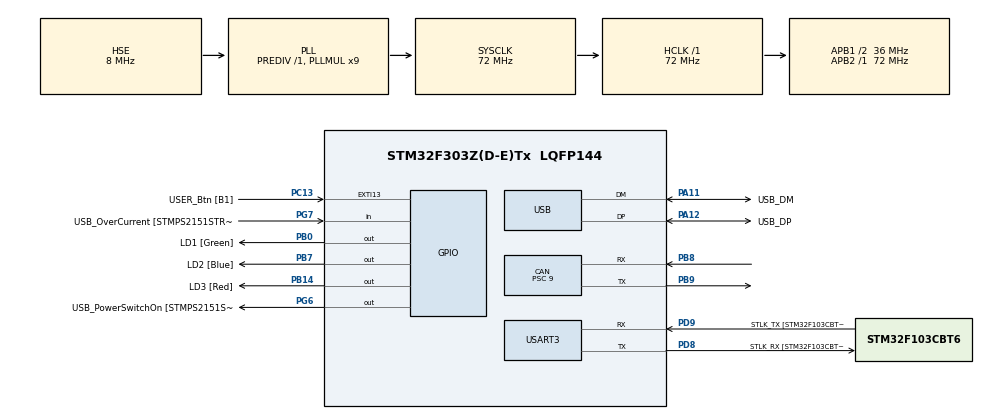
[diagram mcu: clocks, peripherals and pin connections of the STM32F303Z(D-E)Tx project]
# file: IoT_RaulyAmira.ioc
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CAN.BS1=CAN_BS1_9TQ
CAN.BS2=CAN_BS2_6TQ
CAN.CalculateBaudRate=250000
CAN.CalculateTimeBit=4000
CAN.CalculateTimeQuantum=250.0
CAN.Mode=CAN_MODE_LOOPBACK
CAN.Prescaler=9
Mcu.Family=STM32F3
Mcu.Name=STM32F303Z(D-E)Tx
Mcu.Package=LQFP144
NVIC.PriorityGroup=NVIC_PRIORITYGROUP_4
PA11.GPIO_Label=USB_DM
PA11.Mode=Device
PA11.Signal=USB_DM
PA12.GPIO_Label=USB_DP
PA12.Mode=Device
PA12.Signal=USB_DP
PA13.GPIO_Label=TMS
PA13.Mode=Serial_Wire
PA13.Signal=SYS_JTMS-SWDIO
PA14.GPIO_Label=TCK
PA14.Mode=Serial_Wire
PA14.Signal=SYS_JTCK-SWCLK
PB0.GPIO_Label=LD1 [Green]
PB0.Signal=GPIO_Output
PB14.GPIO_Label=LD3 [Red]
PB14.Signal=GPIO_Output
PB3.GPIO_Label=SWO
PB3.Signal=SYS_JTDO-TRACESWO
PB7.GPIO_Label=LD2 [Blue]
PB7.Signal=GPIO_Output
PB8.Mode=CAN_Activate
PB8.Signal=CAN_RX
PB9.Mode=CAN_Activate
PB9.Signal=CAN_TX
PC13.GPIO_Label=USER_Btn [B1]
PC13.Signal=GPXTI13
PC14-OSC32_IN.Mode=LSE-External-Oscillator
PC14-OSC32_IN.Signal=RCC_OSC32_IN
PC15-OSC32_OUT.Mode=LSE-External-Oscillator
PC15-OSC32_OUT.Signal=RCC_OSC32_OUT
PD8.GPIO_Label=STLK_RX [STM32F103CBT6_PA3]
PD8.Mode=Asynchronous
PD8.Signal=USART3_TX
PD9.GPIO_Label=STLK_TX [STM32F103CBT6_PA2]
PD9.Mode=Asynchronous
PD9.Signal=USART3_RX
PF0-OSC_IN.GPIO_Label=MCO [STM32F103CBT6_PA8]
PF0-OSC_IN.Mode=HSE-External-Clock-Source
PF0-OSC_IN.Signal=RCC_OSC_IN
PG6.GPIO_Label=USB_PowerSwitchOn [STMPS2151STR_EN]
PG6.Signal=GPIO_Output
PG7.GPIO_Label=USB_OverCurrent [STMPS2151STR_FAULT]
PG7.Signal=GPIO_Input
ProjectManager.HeapSize=0x200
ProjectManager.StackSize=0x400
ProjectManager.TargetToolchain=STM32CubeIDE
RCC.AHBFreq_Value=72000000
RCC.APB1CLKDivider=RCC_HCLK_DIV2
RCC.APB1Freq_Value=36000000
RCC.APB1TimFreq_Value=72000000
RCC.APB2Freq_Value=72000000
RCC.APB2TimFreq_Value=72000000
RCC.CortexFreq_Value=72000000
RCC.HCLKFreq_Value=72000000
RCC.HSE_VALUE=8000000
RCC.HSI_VALUE=8000000
RCC.PLLMUL=RCC_PLL_MUL9
RCC.PRESCALERUSB=RCC_USBCLKSOURCE_PLL_DIV1_5
RCC.SYSCLKFreq_VALUE=72000000
RCC.SYSCLKSourceVirtual=RCC_SYSCLKSOURCE_PLLCLK
RCC.USBFreq_Value=48000000
USART3.VirtualMode-Asynchronous=VM_ASYNC
VP_RTC_VS_RTC_Activate.Mode=RTC_Enabled
board=NUCLEO-F303ZE

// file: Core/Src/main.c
/* USER CODE BEGIN Header */
/**
  ******************************************************************************
  * @file           : main.c
  * @brief          : Main program body
  ******************************************************************************
  * @attention
  *
  * Copyright (c) 2024 STMicroelectronics.
  * All rights reserved.
  *
  * This software is licensed under terms that can be found in the LICENSE file
  * in the root directory of this software component.
  * If no LICENSE file comes with this software, it is provided AS-IS.
  *
  ******************************************************************************
  */
/* USER CODE END Header */
#include "main.h"
#include "can.h"
#include "rtc.h"
#include "usart.h"
#include "usb.h"
#include "gpio.h"

void SystemClock_Config(void);
/* USER CODE BEGIN PFP */

// Custom defined functions
void SetPinOutput(uint16_t GPIO_Pin, GPIO_PinState PinState, uint16_t Delay)
{
	HAL_GPIO_WritePin(LD1_GPIO_Port, GPIO_Pin, PinState);
	if(Delay > 0){
		HAL_Delay(Delay);
	}
}

void ReadBtn()
{
	GPIO_PinState input = HAL_GPIO_ReadPin(USER_Btn_GPIO_Port, USER_Btn_Pin);
	if(input == GPIO_PIN_SET){
		SetPinOutput(LD1_Pin, GPIO_PIN_SET, 0);
		SetPinOutput(LD2_Pin, GPIO_PIN_SET, 0);
		SetPinOutput(LD3_Pin, GPIO_PIN_SET, 0);
	} else {
		SetPinOutput(LD1_Pin, GPIO_PIN_RESET, 0);
		SetPinOutput(LD2_Pin, GPIO_PIN_RESET, 0);
		SetPinOutput(LD3_Pin, GPIO_PIN_RESET, 0);
	}
}

void JeuxDeLumiere()
{
	GPIO_PinState input = HAL_GPIO_ReadPin(USER_Btn_GPIO_Port, USER_Btn_Pin);

	SetPinOutput(LD1_Pin, GPIO_PIN_SET, 500 + 500 * input);
	SetPinOutput(LD1_Pin, GPIO_PIN_RESET, 500 + 500 * input);
	SetPinOutput(LD2_Pin, GPIO_PIN_SET, 500 + 500 * input);
	SetPinOutput(LD2_Pin, GPIO_PIN_RESET, 500 + 500 * input);
	SetPinOutput(LD3_Pin, GPIO_PIN_SET, 500 + 500 * input);
	SetPinOutput(LD3_Pin, GPIO_PIN_RESET, 500 + 500 * input);
}

/* USER CODE END PFP */

int main(void)
{

  /* MCU Configuration--------------------------------------------------------*/

  /* Reset of all peripherals, Initializes the Flash interface and the Systick. */
  HAL_Init();

  /* Configure the system clock */
  SystemClock_Config();

  /* Initialize all configured peripherals */
  MX_GPIO_Init();
  MX_RTC_Init();
  MX_USART3_UART_Init();
  MX_USB_PCD_Init();
  MX_CAN_Init();

  /* Infinite loop */
  while (1)
  {

    /* USER CODE BEGIN 3 */
	  /*
	  SetPinOutput(LD1_Pin, GPIO_PIN_SET, 500);
	  SetPinOutput(LD1_Pin, GPIO_PIN_RESET, 500);
	  SetPinOutput(LD2_Pin, GPIO_PIN_SET, 600);
	  SetPinOutput(LD2_Pin, GPIO_PIN_RESET, 600);
	  SetPinOutput(LD3_Pin, GPIO_PIN_SET, 700);
	  SetPinOutput(LD3_Pin, GPIO_PIN_RESET, 700);
	  */
//	  ReadBtn();
	  JeuxDeLumiere();
  }
  /* USER CODE END 3 */
}

void SystemClock_Config(void)
{
  RCC_OscInitTypeDef RCC_OscInitStruct = {0};
  RCC_ClkInitTypeDef RCC_ClkInitStruct = {0};
  RCC_PeriphCLKInitTypeDef PeriphClkInit = {0};

  /** Initializes the RCC Oscillators according to the specified parameters
  * in the RCC_OscInitTypeDef structure.
  */
  RCC_OscInitStruct.OscillatorType = RCC_OSCILLATORTYPE_LSI|RCC_OSCILLATORTYPE_HSE;
  RCC_OscInitStruct.HSEState = RCC_HSE_BYPASS;
  RCC_OscInitStruct.HSIState = RCC_HSI_ON;
  RCC_OscInitStruct.LSIState = RCC_LSI_ON;
  RCC_OscInitStruct.PLL.PLLState = RCC_PLL_ON;
  RCC_OscInitStruct.PLL.PLLSource = RCC_PLLSOURCE_HSE;
  RCC_OscInitStruct.PLL.PLLMUL = RCC_PLL_MUL9;
  RCC_OscInitStruct.PLL.PREDIV = RCC_PREDIV_DIV1;
  if (HAL_RCC_OscConfig(&RCC_OscInitStruct) != HAL_OK)
  {
    Error_Handler();
  }

  /** Initializes the CPU, AHB and APB buses clocks
  */
  RCC_ClkInitStruct.ClockType = RCC_CLOCKTYPE_HCLK|RCC_CLOCKTYPE_SYSCLK
                              |RCC_CLOCKTYPE_PCLK1|RCC_CLOCKTYPE_PCLK2;
  RCC_ClkInitStruct.SYSCLKSource = RCC_SYSCLKSOURCE_PLLCLK;
  RCC_ClkInitStruct.AHBCLKDivider = RCC_SYSCLK_DIV1;
  RCC_ClkInitStruct.APB1CLKDivider = RCC_HCLK_DIV2;
  RCC_ClkInitStruct.APB2CLKDivider = RCC_HCLK_DIV1;

  if (HAL_RCC_ClockConfig(&RCC_ClkInitStruct, FLASH_LATENCY_2) != HAL_OK)
  {
    Error_Handler();
  }
  PeriphClkInit.PeriphClockSelection = RCC_PERIPHCLK_USB|RCC_PERIPHCLK_USART3
                              |RCC_PERIPHCLK_RTC;
  PeriphClkInit.Usart3ClockSelection = RCC_USART3CLKSOURCE_PCLK1;
  PeriphClkInit.RTCClockSelection = RCC_RTCCLKSOURCE_LSI;
  PeriphClkInit.USBClockSelection = RCC_USBCLKSOURCE_PLL_DIV1_5;
  if (HAL_RCCEx_PeriphCLKConfig(&PeriphClkInit) != HAL_OK)
  {
    Error_Handler();
  }
}

void Error_Handler(void)
{
  __disable_irq();
  while (1)
  {
  }
}
